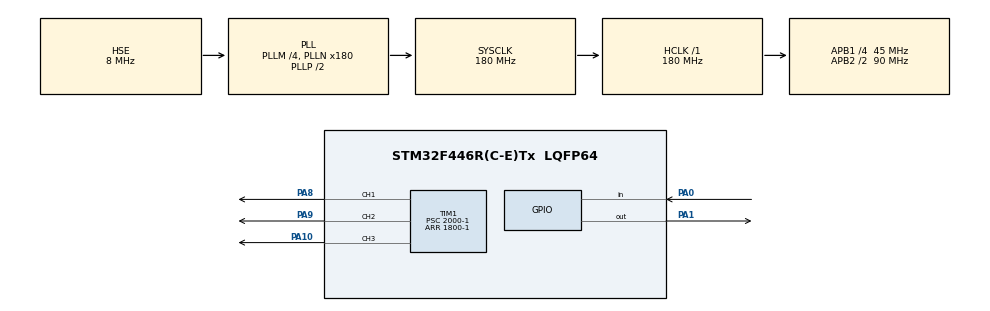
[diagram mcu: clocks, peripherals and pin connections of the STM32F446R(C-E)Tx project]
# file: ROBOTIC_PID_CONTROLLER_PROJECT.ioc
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Mcu.Family=STM32F4
Mcu.Name=STM32F446R(C-E)Tx
Mcu.Package=LQFP64
NVIC.PriorityGroup=NVIC_PRIORITYGROUP_4
PA0-WKUP.Signal=GPIO_Input
PA1.Signal=GPIO_Output
PA10.Signal=S_TIM1_CH3
PA8.Signal=S_TIM1_CH1
PA9.Signal=S_TIM1_CH2
PH0-OSC_IN.Mode=HSE-External-Oscillator
PH0-OSC_IN.Signal=RCC_OSC_IN
PH1-OSC_OUT.Mode=HSE-External-Oscillator
PH1-OSC_OUT.Signal=RCC_OSC_OUT
ProjectManager.HeapSize=0x200
ProjectManager.StackSize=0x400
ProjectManager.TargetToolchain=STM32CubeIDE
RCC.AHBFreq_Value=180000000
RCC.APB1CLKDivider=RCC_HCLK_DIV4
RCC.APB1Freq_Value=45000000
RCC.APB1TimFreq_Value=90000000
RCC.APB2CLKDivider=RCC_HCLK_DIV2
RCC.APB2Freq_Value=90000000
RCC.APB2TimFreq_Value=180000000
RCC.CortexFreq_Value=180000000
RCC.HCLKFreq_Value=180000000
RCC.HSE_VALUE=8000000
RCC.PLLM=4
RCC.PLLN=180
RCC.PLLSourceVirtual=RCC_PLLSOURCE_HSE
RCC.SYSCLKFreq_VALUE=180000000
RCC.SYSCLKSource=RCC_SYSCLKSOURCE_PLLCLK
RCC.USBFreq_Value=180000000
RCC.VCOOutputFreq_Value=360000000
SH.S_TIM1_CH1.0=TIM1_CH1,PWM Generation1 CH1
SH.S_TIM1_CH2.0=TIM1_CH2,PWM Generation2 CH2
SH.S_TIM1_CH3.0=TIM1_CH3,PWM Generation3 CH3
TIM1.Channel-PWM\ Generation1\ CH1=TIM_CHANNEL_1
TIM1.Channel-PWM\ Generation2\ CH2=TIM_CHANNEL_2
TIM1.Channel-PWM\ Generation3\ CH3=TIM_CHANNEL_3
TIM1.Period=1800-1
TIM1.Prescaler=2000-1
board=custom

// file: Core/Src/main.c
/* USER CODE BEGIN Header */
/**
  ******************************************************************************
  * @file           : main.c
  * @brief          : Main program body
  ******************************************************************************
  * @attention
  *
  * Copyright (c) 2023 STMicroelectronics.
  * All rights reserved.
  *
  * This software is licensed under terms that can be found in the LICENSE file
  * in the root directory of this software component.
  * If no LICENSE file comes with this software, it is provided AS-IS.
  *
  ******************************************************************************
  */
/* USER CODE END Header */
#include "main.h"

/* USER CODE BEGIN Includes */

#include "dwt_stm32_delay.h"

/* USER CODE END Includes */

TIM_HandleTypeDef htim1;

/* USER CODE BEGIN PV */

//uint16_t adc_value = 0;

float distance; //0-255 olcum araligi

/* USER CODE END PV */

void SystemClock_Config(void);
static void MX_GPIO_Init(void);
static void MX_TIM1_Init(void);
/* USER CODE BEGIN PFP */

/*
void delay_uS(uint16_t us)
  {
	  __HAL_TIM_SET_COUNTER(&htim2, 0);
	  while(__HAL_TIM_GET_COUNTER(&htim2) < us);

  }
  */

/* USER CODE END PFP */

/* USER CODE BEGIN 0 */

//************************PID KONTROL BOLUMU****************************

// PID kontrol değişkenleri
float Kp = 12; // P (Proportional) katsayısı
float Ki = 0.0001; // I (Integral) katsayısı
float Kd = 8; // D (Derivative) katsayısı

// Hesaplanan PID kontrol çıkışı
float pidOutput = 0.0;

// PID kontrol değişkenleri
float error = 0.0; // Hata
float integral = 0.0; // İntegral
float derivative = 0.0; // Türev
float lastError = 0.0; // Son hata

// Hedef uzaklık
float setpoint = 10.8999996;

// Servo açısı
float servoAngle = 45.0;
float servoAngle_rev;

/*
// PID kontrol fonksiyonu
void calculatePID() {

}

*/

/*
void Read_ADC()
{
	HAL_ADC_Start(&hadc1);

	if(HAL_ADC_PollForConversion(&hadc1, 10000) == HAL_OK)
	{
		adc_value = HAL_ADC_GetValue(&hadc1);
	}
	HAL_ADC_Stop(&hadc1);
}

*/

void PID_Control()
{
	uint32_t local_time = 0;
	float distance_temp = 0;

	HAL_GPIO_WritePin(GPIOA, GPIO_PIN_1, GPIO_PIN_RESET);
    DWT_Delay_us(10);
	HAL_GPIO_WritePin(GPIOA, GPIO_PIN_1, GPIO_PIN_SET);
	DWT_Delay_us(10);
	HAL_GPIO_WritePin(GPIOA, GPIO_PIN_1, GPIO_PIN_RESET);
	DWT_Delay_us(10);

	while(!HAL_GPIO_ReadPin(GPIOA, GPIO_PIN_0));

	while(HAL_GPIO_ReadPin(GPIOA, GPIO_PIN_0))
	{
		local_time++;
		DWT_Delay_us(1);
	}

	distance_temp = (float)local_time/58;
	HAL_Delay(10);
	//return distance_temp;

	distance = distance_temp; //offset

	//------------PID HESAPLAMA------------------------

	// Hata hesapla
	    error = setpoint - distance;

	    /*
	    if(error > 6) error = 6;
	        else if(error < -6) error = -6;
	        else error = error;
		*/

	    // İntegral hesapla
	    integral -= error;

	    /*
	    if(integral > 6) integral = 6;
	    else if(integral < -6) integral = -6;
	    else integral = integral;
        */

	    // Türev hesapla
	    derivative = error - lastError;

	    // PID çıkışını hesapla
	    pidOutput = Kp * error + Ki * integral + Kd * derivative;

	    // Güncel hata değerini sakla
	    lastError = error;
}

void Servo1_Angle(int angle1)
{
	if(angle1 < 0)
		angle1 = 0;
	if(angle1 > 180)
		angle1 = 180;

	angle1 += 45; //offset değeri

	__HAL_TIM_SET_COMPARE(&htim1, TIM_CHANNEL_1, angle1);

}

void Servo2_Angle(int angle2)
{
	if(angle2 < 0)
		angle2 = 0;
	if(angle2 > 90)
		angle2 = 90;

	angle2 += 45; //offset değeri

	__HAL_TIM_SET_COMPARE(&htim1, TIM_CHANNEL_2, angle2);
 }

void Servo3_Angle(int angle3)
{

	angle3 += 45; //offset değeri

	__HAL_TIM_SET_COMPARE(&htim1, TIM_CHANNEL_3, angle3);
}

/* USER CODE END 0 */

int main(void)
{

  /* MCU Configuration--------------------------------------------------------*/

  /* Reset of all peripherals, Initializes the Flash interface and the Systick. */
  HAL_Init();

  /* USER CODE BEGIN Init */

  DWT_Delay_Init();

  /* USER CODE END Init */

  /* Configure the system clock */
  SystemClock_Config();

  /* Initialize all configured peripherals */
  MX_GPIO_Init();
  MX_TIM1_Init();
  /* USER CODE BEGIN 2 */

  HAL_TIM_PWM_Start(&htim1, TIM_CHANNEL_1);
  HAL_TIM_PWM_Start(&htim1, TIM_CHANNEL_2);
  HAL_TIM_PWM_Start(&htim1, TIM_CHANNEL_3);

  /* USER CODE END 2 */

  /* Infinite loop */
  /* USER CODE BEGIN WHILE */
  while (1)
  {

	  PID_Control();

	  // Servo açısını güncelle
	      servoAngle = servoAngle + pidOutput * (-1);

	      // Servo açısını sınırla (0 ile 90 arasında)
	      if (servoAngle < 40.0)
	      {
	          servoAngle = 40.0;
	      }

	      else if (servoAngle > 53.0)
	      {
	          servoAngle = 53.0;
	      }

	  Servo3_Angle(servoAngle);

	  //Read_ADC();

    /* USER CODE END WHILE */

    /* USER CODE BEGIN 3 */

//-----------SERVO AYARLARI-------------------------------------------
	  Servo1_Angle(90);
	  Servo2_Angle(55);
	  //Servo3_Angle(45);

  }
  /* USER CODE END 3 */
}

void SystemClock_Config(void)
{
  RCC_OscInitTypeDef RCC_OscInitStruct = {0};
  RCC_ClkInitTypeDef RCC_ClkInitStruct = {0};

  /** Configure the main internal regulator output voltage
  */
  __HAL_RCC_PWR_CLK_ENABLE();
  __HAL_PWR_VOLTAGESCALING_CONFIG(PWR_REGULATOR_VOLTAGE_SCALE1);

  /** Initializes the RCC Oscillators according to the specified parameters
  * in the RCC_OscInitTypeDef structure.
  */
  RCC_OscInitStruct.OscillatorType = RCC_OSCILLATORTYPE_HSE;
  RCC_OscInitStruct.HSEState = RCC_HSE_ON;
  RCC_OscInitStruct.PLL.PLLState = RCC_PLL_ON;
  RCC_OscInitStruct.PLL.PLLSource = RCC_PLLSOURCE_HSE;
  RCC_OscInitStruct.PLL.PLLM = 4;
  RCC_OscInitStruct.PLL.PLLN = 180;
  RCC_OscInitStruct.PLL.PLLP = RCC_PLLP_DIV2;
  RCC_OscInitStruct.PLL.PLLQ = 2;
  RCC_OscInitStruct.PLL.PLLR = 2;
  if (HAL_RCC_OscConfig(&RCC_OscInitStruct) != HAL_OK)
  {
    Error_Handler();
  }

  /** Activate the Over-Drive mode
  */
  if (HAL_PWREx_EnableOverDrive() != HAL_OK)
  {
    Error_Handler();
  }

  /** Initializes the CPU, AHB and APB buses clocks
  */
  RCC_ClkInitStruct.ClockType = RCC_CLOCKTYPE_HCLK|RCC_CLOCKTYPE_SYSCLK
                              |RCC_CLOCKTYPE_PCLK1|RCC_CLOCKTYPE_PCLK2;
  RCC_ClkInitStruct.SYSCLKSource = RCC_SYSCLKSOURCE_PLLCLK;
  RCC_ClkInitStruct.AHBCLKDivider = RCC_SYSCLK_DIV1;
  RCC_ClkInitStruct.APB1CLKDivider = RCC_HCLK_DIV4;
  RCC_ClkInitStruct.APB2CLKDivider = RCC_HCLK_DIV2;

  if (HAL_RCC_ClockConfig(&RCC_ClkInitStruct, FLASH_LATENCY_5) != HAL_OK)
  {
    Error_Handler();
  }
}

static void MX_TIM1_Init(void)
{

  TIM_MasterConfigTypeDef sMasterConfig = {0};
  TIM_OC_InitTypeDef sConfigOC = {0};
  TIM_BreakDeadTimeConfigTypeDef sBreakDeadTimeConfig = {0};

  htim1.Instance = TIM1;
  htim1.Init.Prescaler = 2000-1;
  htim1.Init.CounterMode = TIM_COUNTERMODE_UP;
  htim1.Init.Period = 1800-1;
  htim1.Init.ClockDivision = TIM_CLOCKDIVISION_DIV1;
  htim1.Init.RepetitionCounter = 0;
  htim1.Init.AutoReloadPreload = TIM_AUTORELOAD_PRELOAD_DISABLE;
  if (HAL_TIM_PWM_Init(&htim1) != HAL_OK)
  {
    Error_Handler();
  }
  sMasterConfig.MasterOutputTrigger = TIM_TRGO_RESET;
  sMasterConfig.MasterSlaveMode = TIM_MASTERSLAVEMODE_DISABLE;
  if (HAL_TIMEx_MasterConfigSynchronization(&htim1, &sMasterConfig) != HAL_OK)
  {
    Error_Handler();
  }
  sConfigOC.OCMode = TIM_OCMODE_PWM1;
  sConfigOC.Pulse = 0;
  sConfigOC.OCPolarity = TIM_OCPOLARITY_HIGH;
  sConfigOC.OCNPolarity = TIM_OCNPOLARITY_HIGH;
  sConfigOC.OCFastMode = TIM_OCFAST_DISABLE;
  sConfigOC.OCIdleState = TIM_OCIDLESTATE_RESET;
  sConfigOC.OCNIdleState = TIM_OCNIDLESTATE_RESET;
  if (HAL_TIM_PWM_ConfigChannel(&htim1, &sConfigOC, TIM_CHANNEL_1) != HAL_OK)
  {
    Error_Handler();
  }
  if (HAL_TIM_PWM_ConfigChannel(&htim1, &sConfigOC, TIM_CHANNEL_2) != HAL_OK)
  {
    Error_Handler();
  }
  if (HAL_TIM_PWM_ConfigChannel(&htim1, &sConfigOC, TIM_CHANNEL_3) != HAL_OK)
  {
    Error_Handler();
  }
  sBreakDeadTimeConfig.OffStateRunMode = TIM_OSSR_DISABLE;
  sBreakDeadTimeConfig.OffStateIDLEMode = TIM_OSSI_DISABLE;
  sBreakDeadTimeConfig.LockLevel = TIM_LOCKLEVEL_OFF;
  sBreakDeadTimeConfig.DeadTime = 0;
  sBreakDeadTimeConfig.BreakState = TIM_BREAK_DISABLE;
  sBreakDeadTimeConfig.BreakPolarity = TIM_BREAKPOLARITY_HIGH;
  sBreakDeadTimeConfig.AutomaticOutput = TIM_AUTOMATICOUTPUT_DISABLE;
  if (HAL_TIMEx_ConfigBreakDeadTime(&htim1, &sBreakDeadTimeConfig) != HAL_OK)
  {
    Error_Handler();
  }
  HAL_TIM_MspPostInit(&htim1);

}

static void MX_GPIO_Init(void)
{
  GPIO_InitTypeDef GPIO_InitStruct = {0};

  /* GPIO Ports Clock Enable */
  __HAL_RCC_GPIOH_CLK_ENABLE();
  __HAL_RCC_GPIOA_CLK_ENABLE();

  /*Configure GPIO pin Output Level */
  HAL_GPIO_WritePin(GPIOA, GPIO_PIN_1, GPIO_PIN_RESET);

  /*Configure GPIO pin : PA0 */
  GPIO_InitStruct.Pin = GPIO_PIN_0;
  GPIO_InitStruct.Mode = GPIO_MODE_INPUT;
  GPIO_InitStruct.Pull = GPIO_NOPULL;
  HAL_GPIO_Init(GPIOA, &GPIO_InitStruct);

  /*Configure GPIO pin : PA1 */
  GPIO_InitStruct.Pin = GPIO_PIN_1;
  GPIO_InitStruct.Mode = GPIO_MODE_OUTPUT_PP;
  GPIO_InitStruct.Pull = GPIO_NOPULL;
  GPIO_InitStruct.Speed = GPIO_SPEED_FREQ_LOW;
  HAL_GPIO_Init(GPIOA, &GPIO_InitStruct);

}

void Error_Handler(void)
{
  __disable_irq();
  while (1)
  {
  }
}
